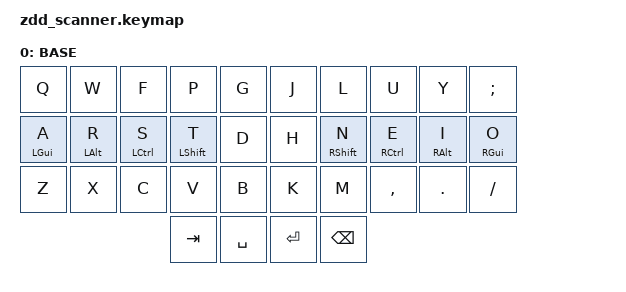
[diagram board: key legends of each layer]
#include <behaviors.dtsi>
#include <dt-bindings/zmk/keys.h>
#include <dt-bindings/zmk/bt.h>

/ {
    keymap {
        compatible = "zmk,keymap";

        default_layer {
            display-name = "BASE";
            bindings = <
                &kp Q       &kp W       &kp F       &kp P       &kp G           &kp J       &kp L       &kp U       &kp Y       &kp SEMI
                &mt LGUI A  &mt LALT R  &mt LCTRL S &mt LSHFT T &kp D           &kp H       &mt RSHFT N &mt RCTRL E &mt RALT I  &mt RGUI O
                &kp Z       &kp X       &kp C       &kp V       &kp B           &kp K       &kp M       &kp COMMA   &kp DOT     &kp FSLH
                                        &kp TAB     &kp SPACE   &kp RET         &kp BSPC
            >;
        };
    };
};
